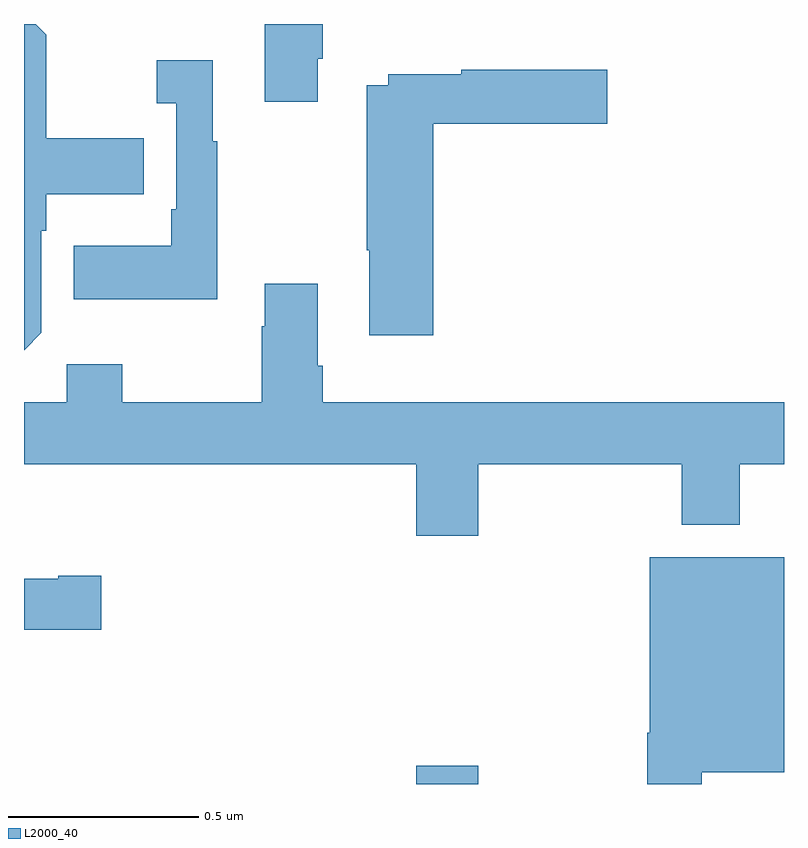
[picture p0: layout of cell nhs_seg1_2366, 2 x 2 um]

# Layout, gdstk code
import gdstk
lib = gdstk.Library(unit=1e-6, precision=1e-09)
def R(c, l, rs):  # rectangles x0, y0, x1, y1
    for r in rs: c.add(gdstk.rectangle(r[:2], r[2:], *l))
def P(c, l, *ps):  # polygons
    for p in ps: c.add(gdstk.Polygon(p, *l))
L2000_40 = (2000, 40)

nhs_seg1_2366 = lib.new_cell('nhs_seg1_2366')
R(nhs_seg1_2366, L2000_40, [(141.032,576.199,141.196,576.247)])
P(nhs_seg1_2366, L2000_40, [(140.773,578.107),(140.786,578.107),(140.786,578.199),(140.633,578.199),(140.633,577.995),(140.773,577.995)],
  [(140.046,577.386),(140.046,577.655),(140.059,577.655),(140.059,577.751),(140.315,577.751),(140.315,577.899),(140.059,577.899),(140.059,578.171),(140.031,578.199),(140,578.199),(140,577.34)],
  [(140.509,577.891),(140.497,577.891),(140.497,578.104),(140.349,578.104),(140.349,577.991),(140.4,577.991),(140.4,577.711),(140.388,577.711),(140.388,577.615),(140.131,577.615),(140.131,577.475),(140.509,577.475)],
  [(141.077,577.937),(141.535,577.937),(141.535,578.079),(141.15,578.079),(141.15,578.067),(140.958,578.067),(140.958,578.038),(140.902,578.038),(140.902,577.603),(140.909,577.603),(140.909,577.38),(141.077,577.38)],
  [(141.196,577.04),(141.731,577.04),(141.731,576.881),(141.883,576.881),(141.883,577.04),(142,577.04),(142,577.204),(140.786,577.204),(140.786,577.3),(140.773,577.3),(140.773,577.516),(140.633,577.516),(140.633,577.403),(140.626,577.403),(140.626,577.204),(140.259,577.204),(140.259,577.303),(140.112,577.303),(140.112,577.204),(140,577.204),(140,577.04),(141.032,577.04),(141.032,576.852),(141.196,576.852)],
  [(141.784,576.23),(142,576.23),(142,576.796),(141.647,576.796),(141.647,576.334),(141.64,576.334),(141.64,576.199),(141.784,576.199)],
  [(140.203,576.747),(140.09,576.747),(140.09,576.739),(140,576.739),(140,576.605),(140.203,576.605)])

lib.write_gds('nhs_seg1_2366.gds')
